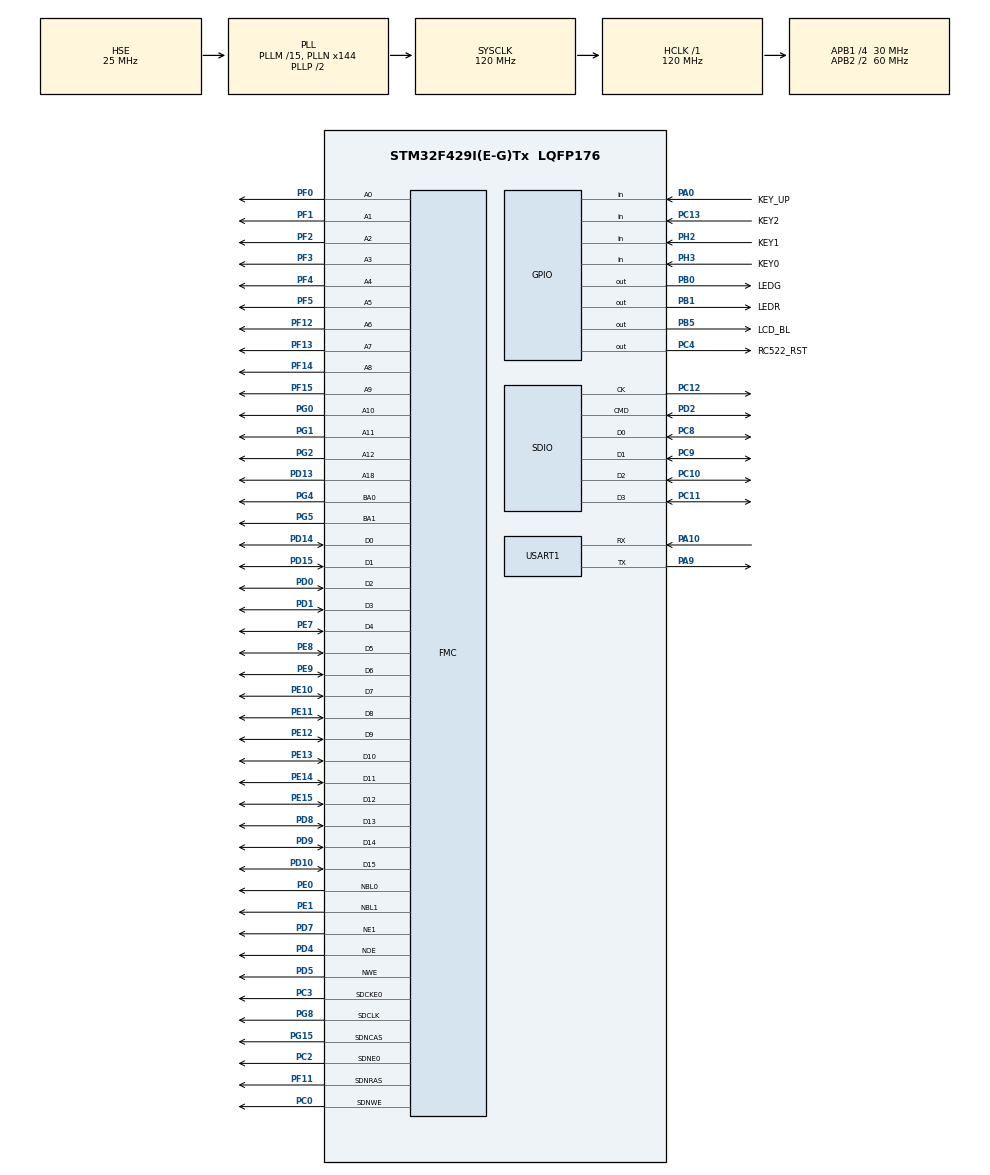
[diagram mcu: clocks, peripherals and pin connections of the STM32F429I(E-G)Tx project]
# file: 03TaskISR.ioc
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DMA2D.AlphaModeForeground=DMA2D_REPLACE_ALPHA
DMA2D.ColorMode=DMA2D_OUTPUT_RGB565
DMA2D.InputColorModeBackground=DMA2D_INPUT_RGB565
DMA2D.InputColorModeForeground=DMA2D_INPUT_A4
DMA2D.Mode=DMA2D_M2M_BLEND
Dma.MEMTOMEM.1.Direction=DMA_MEMORY_TO_MEMORY
Dma.MEMTOMEM.1.FIFOMode=DMA_FIFOMODE_ENABLE
Dma.MEMTOMEM.1.FIFOThreshold=DMA_FIFO_THRESHOLD_FULL
Dma.MEMTOMEM.1.Instance=DMA2_Stream0
Dma.MEMTOMEM.1.MemBurst=DMA_MBURST_SINGLE
Dma.MEMTOMEM.1.MemDataAlignment=DMA_MDATAALIGN_HALFWORD
Dma.MEMTOMEM.1.MemInc=DMA_MINC_DISABLE
Dma.MEMTOMEM.1.Mode=DMA_NORMAL
Dma.MEMTOMEM.1.PeriphBurst=DMA_PBURST_SINGLE
Dma.MEMTOMEM.1.PeriphDataAlignment=DMA_PDATAALIGN_HALFWORD
Dma.MEMTOMEM.1.PeriphInc=DMA_PINC_ENABLE
Dma.MEMTOMEM.1.Priority=DMA_PRIORITY_LOW
Dma.Request0=USART1_RX
Dma.Request1=MEMTOMEM
Dma.Request2=SDIO_RX
Dma.Request3=SDIO_TX
Dma.SDIO_RX.2.Direction=DMA_PERIPH_TO_MEMORY
Dma.SDIO_RX.2.FIFOMode=DMA_FIFOMODE_ENABLE
Dma.SDIO_RX.2.FIFOThreshold=DMA_FIFO_THRESHOLD_FULL
Dma.SDIO_RX.2.Instance=DMA2_Stream3
Dma.SDIO_RX.2.MemBurst=DMA_MBURST_INC4
Dma.SDIO_RX.2.MemDataAlignment=DMA_MDATAALIGN_WORD
Dma.SDIO_RX.2.MemInc=DMA_MINC_ENABLE
Dma.SDIO_RX.2.Mode=DMA_PFCTRL
Dma.SDIO_RX.2.PeriphBurst=DMA_PBURST_INC4
Dma.SDIO_RX.2.PeriphDataAlignment=DMA_PDATAALIGN_WORD
Dma.SDIO_RX.2.PeriphInc=DMA_PINC_DISABLE
Dma.SDIO_RX.2.Priority=DMA_PRIORITY_HIGH
Dma.SDIO_TX.3.Direction=DMA_MEMORY_TO_PERIPH
Dma.SDIO_TX.3.FIFOMode=DMA_FIFOMODE_ENABLE
Dma.SDIO_TX.3.FIFOThreshold=DMA_FIFO_THRESHOLD_FULL
Dma.SDIO_TX.3.Instance=DMA2_Stream6
Dma.SDIO_TX.3.MemBurst=DMA_MBURST_INC4
Dma.SDIO_TX.3.MemDataAlignment=DMA_MDATAALIGN_WORD
Dma.SDIO_TX.3.MemInc=DMA_MINC_ENABLE
Dma.SDIO_TX.3.Mode=DMA_PFCTRL
Dma.SDIO_TX.3.PeriphBurst=DMA_PBURST_INC4
Dma.SDIO_TX.3.PeriphDataAlignment=DMA_PDATAALIGN_WORD
Dma.SDIO_TX.3.PeriphInc=DMA_PINC_DISABLE
Dma.SDIO_TX.3.Priority=DMA_PRIORITY_HIGH
Dma.USART1_RX.0.Direction=DMA_PERIPH_TO_MEMORY
Dma.USART1_RX.0.FIFOMode=DMA_FIFOMODE_DISABLE
Dma.USART1_RX.0.Instance=DMA2_Stream2
Dma.USART1_RX.0.MemDataAlignment=DMA_MDATAALIGN_BYTE
Dma.USART1_RX.0.MemInc=DMA_MINC_ENABLE
Dma.USART1_RX.0.Mode=DMA_NORMAL
Dma.USART1_RX.0.PeriphDataAlignment=DMA_PDATAALIGN_BYTE
Dma.USART1_RX.0.PeriphInc=DMA_PINC_DISABLE
Dma.USART1_RX.0.Priority=DMA_PRIORITY_LOW
FATFS._CODE_PAGE=936
FATFS._FS_EXFAT=1
FATFS._FS_LOCK=10
FATFS._FS_REENTRANT=1
FATFS._FS_TINY=1
FATFS._LFN_UNICODE=1
FATFS._MAX_SS=4096
FATFS._USE_LFN=3
FATFS._USE_MUTEX=1
FMC.CASLatency1=FMC_SDRAM_CAS_LATENCY_2
FMC.ColumnBitsNumber1=FMC_SDRAM_COLUMN_BITS_NUM_9
FMC.ExitSelfRefreshDelay1=7
FMC.LoadToActiveDelay1=2
FMC.RPDelay1=2
FMC.RPDelay2=2
FMC.ReadBurst1=FMC_SDRAM_RBURST_ENABLE
FMC.ReadBurst2=FMC_SDRAM_RBURST_ENABLE
FMC.RowCycleDelay1=6
FMC.RowCycleDelay2=6
FMC.SDClockPeriod1=FMC_SDRAM_CLOCK_PERIOD_2
FMC.SDClockPeriod2=FMC_SDRAM_CLOCK_PERIOD_2
FMC.SelfRefreshTime1=4
FMC.WriteRecoveryTime1=2
FREERTOS.Tasks01=Task_LEDR,24,128,AppTask_LEDR,Default,NULL,Dynamic,NULL,NULL;Task_usart1,8,1024,AppTask_usart1,Default,NULL,Static,Task_usart1Buffer,Task_usart1ControlBlock;Task_LCDTime,8,256,AppTask_LCDTime,Default,NULL,Static,Task_LCDTimeBuffer,Task_LCDTimeControlBlock;TaskreadSD,8,1024,AppTaskreadSD,Default,NULL,Static,TaskreadUSBBuffer,TaskreadUSBControlBlock;TaskInitSD,8,256,AppTaskInitSD,Default,NULL,Dynamic,NULL,NULL
FREERTOS.configGENERATE_RUN_TIME_STATS=1
FREERTOS.configUSE_STATS_FORMATTING_FUNCTIONS=1
Mcu.Family=STM32F4
Mcu.Name=STM32F429I(E-G)Tx
Mcu.Package=LQFP176
NVIC.DMA2D_IRQn=true\:5\:0\:false\:false\:true\:true\:true\:true\:true
NVIC.DMA2_Stream0_IRQn=true\:5\:0\:false\:false\:true\:false\:true\:true\:true
NVIC.DMA2_Stream2_IRQn=true\:5\:0\:false\:false\:true\:true\:false\:true\:true
NVIC.DMA2_Stream3_IRQn=true\:5\:0\:false\:false\:true\:true\:false\:true\:true
NVIC.DMA2_Stream6_IRQn=true\:5\:0\:false\:false\:true\:true\:false\:true\:true
NVIC.PriorityGroup=NVIC_PRIORITYGROUP_4
NVIC.SDIO_IRQn=true\:5\:0\:false\:false\:true\:true\:true\:true\:true
NVIC.TIM6_DAC_IRQn=true\:15\:0\:false\:false\:true\:false\:false\:true\:true
NVIC.TimeBase=TIM6_DAC_IRQn
NVIC.TimeBaseIP=TIM6
NVIC.USART1_IRQn=true\:5\:0\:false\:false\:true\:true\:true\:true\:true
PA0/WKUP.GPIO_Label=KEY_UP
PA0/WKUP.Signal=GPIO_Input
PA10.Mode=Asynchronous
PA10.Signal=USART1_RX
PA13.Mode=Serial_Wire
PA13.Signal=SYS_JTMS-SWDIO
PA14.Mode=Serial_Wire
PA14.Signal=SYS_JTCK-SWCLK
PA9.Mode=Asynchronous
PA9.Signal=USART1_TX
PB0.GPIO_Label=LEDG
PB0.Signal=GPIO_Output
PB1.GPIO_Label=LEDR
PB1.PinState=GPIO_PIN_SET
PB1.Signal=GPIO_Output
PB5.GPIO_Label=LCD_BL
PB5.GPIO_Speed=GPIO_SPEED_FREQ_HIGH
PB5.PinState=GPIO_PIN_SET
PB5.Signal=GPIO_Output
PC0.Signal=FMC_SDNWE
PC10.Mode=SD_4_bits_Wide_bus
PC10.Signal=SDIO_D2
PC11.Mode=SD_4_bits_Wide_bus
PC11.Signal=SDIO_D3
PC12.Mode=SD_4_bits_Wide_bus
PC12.Signal=SDIO_CK
PC13.GPIO_Label=KEY2
PC13.Signal=GPIO_Input
PC14/OSC32_IN.Mode=LSE-External-Oscillator
PC14/OSC32_IN.Signal=RCC_OSC32_IN
PC15/OSC32_OUT.Mode=LSE-External-Oscillator
PC15/OSC32_OUT.Signal=RCC_OSC32_OUT
PC2.Mode=SdramChipSelect1_1
PC2.Signal=FMC_SDNE0
PC3.Mode=SdramChipSelect1_1
PC3.Signal=FMC_SDCKE0
PC4.GPIO_Label=RC522_RST
PC4.Signal=GPIO_Output
PC8.Mode=SD_4_bits_Wide_bus
PC8.Signal=SDIO_D0
PC9.Mode=SD_4_bits_Wide_bus
PC9.Signal=SDIO_D1
PD0.Signal=FMC_D2_DA2
PD1.Signal=FMC_D3_DA3
PD10.Signal=FMC_D15_DA15
PD13.Signal=FMC_A18
PD14.Signal=FMC_D0_DA0
PD15.Signal=FMC_D1_DA1
PD2.Mode=SD_4_bits_Wide_bus
PD2.Signal=SDIO_CMD
PD4.Signal=FMC_NOE
PD5.Signal=FMC_NWE
PD7.Mode=NorPsramChipSelect1_1
PD7.Signal=FMC_NE1
PD8.Signal=FMC_D13_DA13
PD9.Signal=FMC_D14_DA14
PE0.Signal=FMC_NBL0
PE1.Signal=FMC_NBL1
PE10.Signal=FMC_D7_DA7
PE11.Signal=FMC_D8_DA8
PE12.Signal=FMC_D9_DA9
PE13.Signal=FMC_D10_DA10
PE14.Signal=FMC_D11_DA11
PE15.Signal=FMC_D12_DA12
PE7.Signal=FMC_D4_DA4
PE8.Signal=FMC_D5_DA5
PE9.Signal=FMC_D6_DA6
PF0.Signal=FMC_A0
PF1.Signal=FMC_A1
PF11.Signal=FMC_SDNRAS
PF12.Signal=FMC_A6
PF13.Signal=FMC_A7
PF14.Signal=FMC_A8
PF15.Signal=FMC_A9
PF2.Signal=FMC_A2
PF3.Signal=FMC_A3
PF4.Signal=FMC_A4
PF5.Signal=FMC_A5
PG0.Signal=FMC_A10
PG1.Signal=FMC_A11
PG15.Signal=FMC_SDNCAS
PG2.Signal=FMC_A12
PG4.Signal=FMC_A14_BA0
PG5.Signal=FMC_A15_BA1
PG8.Signal=FMC_SDCLK
PH0/OSC_IN.Mode=HSE-External-Oscillator
PH0/OSC_IN.Signal=RCC_OSC_IN
PH1/OSC_OUT.Mode=HSE-External-Oscillator
PH1/OSC_OUT.Signal=RCC_OSC_OUT
PH2.GPIO_Label=KEY1
PH2.Signal=GPIO_Input
PH3.GPIO_Label=KEY0
PH3.Signal=GPIO_Input
ProjectManager.HeapSize=0x2000
ProjectManager.StackSize=0x2000
ProjectManager.TargetToolchain=CMake
RCC.48MHZClocksFreq_Value=48000000
RCC.AHBFreq_Value=120000000
RCC.APB1CLKDivider=RCC_HCLK_DIV4
RCC.APB1Freq_Value=30000000
RCC.APB1TimFreq_Value=60000000
RCC.APB2CLKDivider=RCC_HCLK_DIV2
RCC.APB2Freq_Value=60000000
RCC.APB2TimFreq_Value=120000000
RCC.CortexFreq_Value=120000000
RCC.HCLKFreq_Value=120000000
RCC.HSE_VALUE=25000000
RCC.HSI_VALUE=16000000
RCC.PLLM=15
RCC.PLLN=144
RCC.PLLQ=5
RCC.PLLSAIN=100
RCC.PLLSourceVirtual=RCC_PLLSOURCE_HSE
RCC.RCC_RTC_Clock_Source=RCC_RTCCLKSOURCE_LSE
RCC.RCC_RTC_Clock_SourceVirtual=RCC_RTCCLKSOURCE_LSE
RCC.SYSCLKFreq_VALUE=120000000
RCC.SYSCLKSource=RCC_SYSCLKSOURCE_PLLCLK
RCC.VCOOutputFreq_Value=240000000
RTC.Date=10
RTC.Month=RTC_MONTH_MARCH
RTC.WeekDay=RTC_WEEKDAY_TUESDAY
RTC.Year=26
SDIO.ClockDiv=4
SH.FMC_A0.0=FMC_A0,13b-sda1
SH.FMC_A1.0=FMC_A1,13b-sda1
SH.FMC_A10.0=FMC_A10,13b-sda1
SH.FMC_A11.0=FMC_A11,13b-sda1
SH.FMC_A12.0=FMC_A12,13b-sda1
SH.FMC_A14_BA0.0=FMC_BA0,FourSdramBanks1
SH.FMC_A15_BA1.0=FMC_BA1,FourSdramBanks1
SH.FMC_A18.0=FMC_A18,A18_1
SH.FMC_A2.0=FMC_A2,13b-sda1
SH.FMC_A3.0=FMC_A3,13b-sda1
SH.FMC_A4.0=FMC_A4,13b-sda1
SH.FMC_A5.0=FMC_A5,13b-sda1
SH.FMC_A6.0=FMC_A6,13b-sda1
SH.FMC_A7.0=FMC_A7,13b-sda1
SH.FMC_A8.0=FMC_A8,13b-sda1
SH.FMC_A9.0=FMC_A9,13b-sda1
SH.FMC_D0_DA0.0=FMC_D0,16b-d1
SH.FMC_D0_DA0.1=FMC_D0,sd-16b-d1
SH.FMC_D10_DA10.0=FMC_D10,16b-d1
SH.FMC_D10_DA10.1=FMC_D10,sd-16b-d1
SH.FMC_D11_DA11.0=FMC_D11,16b-d1
SH.FMC_D11_DA11.1=FMC_D11,sd-16b-d1
SH.FMC_D12_DA12.0=FMC_D12,16b-d1
SH.FMC_D12_DA12.1=FMC_D12,sd-16b-d1
SH.FMC_D13_DA13.0=FMC_D13,16b-d1
SH.FMC_D13_DA13.1=FMC_D13,sd-16b-d1
SH.FMC_D14_DA14.0=FMC_D14,16b-d1
SH.FMC_D14_DA14.1=FMC_D14,sd-16b-d1
SH.FMC_D15_DA15.0=FMC_D15,16b-d1
SH.FMC_D15_DA15.1=FMC_D15,sd-16b-d1
SH.FMC_D1_DA1.0=FMC_D1,16b-d1
SH.FMC_D1_DA1.1=FMC_D1,sd-16b-d1
SH.FMC_D2_DA2.0=FMC_D2,16b-d1
SH.FMC_D2_DA2.1=FMC_D2,sd-16b-d1
SH.FMC_D3_DA3.0=FMC_D3,16b-d1
SH.FMC_D3_DA3.1=FMC_D3,sd-16b-d1
SH.FMC_D4_DA4.0=FMC_D4,16b-d1
SH.FMC_D4_DA4.1=FMC_D4,sd-16b-d1
SH.FMC_D5_DA5.0=FMC_D5,16b-d1
SH.FMC_D5_DA5.1=FMC_D5,sd-16b-d1
SH.FMC_D6_DA6.0=FMC_D6,16b-d1
SH.FMC_D6_DA6.1=FMC_D6,sd-16b-d1
SH.FMC_D7_DA7.0=FMC_D7,16b-d1
SH.FMC_D7_DA7.1=FMC_D7,sd-16b-d1
SH.FMC_D8_DA8.0=FMC_D8,16b-d1
SH.FMC_D8_DA8.1=FMC_D8,sd-16b-d1
SH.FMC_D9_DA9.0=FMC_D9,16b-d1
SH.FMC_D9_DA9.1=FMC_D9,sd-16b-d1
SH.FMC_NBL0.0=FMC_NBL0,Sd2ByteEnable1
SH.FMC_NBL1.0=FMC_NBL1,Sd2ByteEnable1
SH.FMC_NOE.0=FMC_NOE,Lcd1
SH.FMC_NWE.0=FMC_NWE,Lcd1
SH.FMC_SDCLK.0=FMC_SDCLK,13b-sda1
SH.FMC_SDNCAS.0=FMC_SDNCAS,13b-sda1
SH.FMC_SDNRAS.0=FMC_SDNRAS,13b-sda1
SH.FMC_SDNWE.0=FMC_SDNWE,13b-sda1
USART1.VirtualMode=VM_ASYNC
VP_DMA2D_VS_DMA2D.Mode=DMA2D_Activate
VP_FATFS_VS_SDIO.Mode=SDIO
VP_FREERTOS_VS_CMSIS_V2.Mode=CMSIS_V2
VP_RTC_VS_RTC_Activate.Mode=RTC_Enabled
VP_RTC_VS_RTC_Calendar.Mode=RTC_Calendar
VP_SYS_VS_tim6.Mode=TIM6
board=custom

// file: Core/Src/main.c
/* USER CODE BEGIN Header */
/**
  ******************************************************************************
  * @file           : main.c
  * @brief          : Main program body
  ******************************************************************************
  * @attention
  *
  * Copyright (c) 2026 STMicroelectronics.
  * All rights reserved.
  *
  * This software is licensed under terms that can be found in the LICENSE file
  * in the root directory of this software component.
  * If no LICENSE file comes with this software, it is provided AS-IS.
  *
  ******************************************************************************
  */
/* USER CODE END Header */
#include "main.h"
#include "cmsis_os.h"
#include "dma.h"
#include "dma2d.h"
#include "fatfs.h"
#include "rtc.h"
#include "sdio.h"
#include "usart.h"
#include "gpio.h"
#include "fmc.h"

/* USER CODE BEGIN Includes */
#include <stdio.h>
#include "../../ThirdParty/MyLib/LED/LED.h"
#include "../../ThirdParty/MyLib/LCD/lcd.h"
#include "../../ThirdParty/MyLib/SDRAM/sdram.h"
#include "../../ThirdParty/MyLib/LCD/lcd_dma2d.h"
#include "../../ThirdParty/MyLib/TFCARD/sd_app.h"
/* USER CODE END Includes */

void SystemClock_Config(void);
void MX_FREERTOS_Init(void);

int main(void)
{

  /* MCU Configuration--------------------------------------------------------*/

  /* Reset of all peripherals, Initializes the Flash interface and the Systick. */
  HAL_Init();

  /* Configure the system clock */
  SystemClock_Config();

  /* Initialize all configured peripherals */
  MX_GPIO_Init();
  MX_DMA_Init();
  MX_FMC_Init();
  MX_USART1_UART_Init();
  MX_RTC_Init();
  MX_DMA2D_Init();
  MX_SDIO_SD_Init();
  MX_FATFS_Init();
  /* USER CODE BEGIN 2 */

  LEDG(0);// 确保 LEDG 初始状态为关闭
  LEDR(0);// 确保 LEDR 初始状态为关闭

//==============================  初始化 SDRAM  =============================
  SDRAM_InitSequence();
  /** =============================初始化 LCD 屏幕============================= */
  lcd_init();
  lcd_clear(BLACK);
  lcd_dma2d_init();     // 初始化 DMA2D 缓存模块
  lcd_dma2d_clear(BLACK);

  // 2. 用 CPU 画一个半透明的蓝色圆圈 (与白色背景混合)
  lcd_buffer_draw_circle_alpha(160, 260, 75, YELLOW, 255); // 256 = 100% 透明
  lcd_buffer_draw_circle_alpha(160, 260, 73, RED, 255);
  lcd_buffer_draw_circle_alpha(160, 260, 70, BLUE, 255);
  //lcd_dma2d_update_screen(); // 刷新屏幕

  lcd_buffer_fill_alpha(100, 200, 220, 320, RED, 128); // 使用 CPU 混合填充
  lcd_buffer_fill_alpha(120, 220, 240, 340, BLUE, 128); // 使用 CPU 混合填充
  lcd_buffer_fill_alpha(80, 180, 200, 300, YELLOW, 128);
  lcd_dma2d_update_screen(); // 刷新屏幕

  /* ============================= 初始化EUBF  ============================= */
    EUBF_Port_Config_t font_sd_config = {
        .Open     = SD_FastSlot_Open_UTF8,  // 完美的接口匹配！
        .Close    = (void (*)(int8_t))SD_FastSlot_Close, // 强转一下避免警告
        .ReadAt   = SD_FastSlot_Read,       // 完美的参数匹配！
        .RootPath = "0:/"                   // SD卡的根目录
    };
    EUBF_Init(&font_sd_config);
  /** ============================= 初始化串口 ============================= */
  //开启串口空闲中断，接收数据到rx_buffer
  HAL_UARTEx_ReceiveToIdle_DMA(&huart1, rx_buffer_1, MAX_CMD_LEN);
  // 关闭半传输中断
  __HAL_DMA_DISABLE_IT(huart1.hdmarx, DMA_IT_HT);

  /* USER CODE END 2 */

  /* Init scheduler */
  osKernelInitialize();  /* Call init function for freertos objects (in cmsis_os2.c) */
  MX_FREERTOS_Init();

  /* Start scheduler */
  osKernelStart();

  /* We should never get here as control is now taken by the scheduler */

  /* Infinite loop */
  while (1)
  {

  }
}

void SystemClock_Config(void)
{
  RCC_OscInitTypeDef RCC_OscInitStruct = {0};
  RCC_ClkInitTypeDef RCC_ClkInitStruct = {0};

  /** Configure the main internal regulator output voltage
  */
  __HAL_RCC_PWR_CLK_ENABLE();
  __HAL_PWR_VOLTAGESCALING_CONFIG(PWR_REGULATOR_VOLTAGE_SCALE3);

  /** Initializes the RCC Oscillators according to the specified parameters
  * in the RCC_OscInitTypeDef structure.
  */
  RCC_OscInitStruct.OscillatorType = RCC_OSCILLATORTYPE_HSE|RCC_OSCILLATORTYPE_LSE;
  RCC_OscInitStruct.HSEState = RCC_HSE_ON;
  RCC_OscInitStruct.LSEState = RCC_LSE_ON;
  RCC_OscInitStruct.PLL.PLLState = RCC_PLL_ON;
  RCC_OscInitStruct.PLL.PLLSource = RCC_PLLSOURCE_HSE;
  RCC_OscInitStruct.PLL.PLLM = 15;
  RCC_OscInitStruct.PLL.PLLN = 144;
  RCC_OscInitStruct.PLL.PLLP = RCC_PLLP_DIV2;
  RCC_OscInitStruct.PLL.PLLQ = 5;
  if (HAL_RCC_OscConfig(&RCC_OscInitStruct) != HAL_OK)
  {
    Error_Handler();
  }

  /** Initializes the CPU, AHB and APB buses clocks
  */
  RCC_ClkInitStruct.ClockType = RCC_CLOCKTYPE_HCLK|RCC_CLOCKTYPE_SYSCLK
                              |RCC_CLOCKTYPE_PCLK1|RCC_CLOCKTYPE_PCLK2;
  RCC_ClkInitStruct.SYSCLKSource = RCC_SYSCLKSOURCE_PLLCLK;
  RCC_ClkInitStruct.AHBCLKDivider = RCC_SYSCLK_DIV1;
  RCC_ClkInitStruct.APB1CLKDivider = RCC_HCLK_DIV4;
  RCC_ClkInitStruct.APB2CLKDivider = RCC_HCLK_DIV2;

  if (HAL_RCC_ClockConfig(&RCC_ClkInitStruct, FLASH_LATENCY_3) != HAL_OK)
  {
    Error_Handler();
  }
}

void HAL_TIM_PeriodElapsedCallback(TIM_HandleTypeDef *htim)
{
  if (htim->Instance == TIM6)
  {
    HAL_IncTick();
  }
}

void Error_Handler(void)
{
  __disable_irq();
  while (1)
  {
  }
}

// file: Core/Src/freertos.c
/* USER CODE BEGIN Header */
/**
  ******************************************************************************
  * File Name          : freertos.c
  * Description        : Code for freertos applications
  ******************************************************************************
  * @attention
  *
  * Copyright (c) 2026 STMicroelectronics.
  * All rights reserved.
  *
  * This software is licensed under terms that can be found in the LICENSE file
  * in the root directory of this software component.
  * If no LICENSE file comes with this software, it is provided AS-IS.
  *
  ******************************************************************************
  */
/* USER CODE END Header */

#include "FreeRTOS.h"
#include "task.h"
#include "main.h"
#include "cmsis_os.h"

/* USER CODE BEGIN Includes */
#include <stdint.h>
#include <stdio.h>
#include <string.h>
#include "../../ThirdParty/MyLib/LED/LED.h"
#include "../../ThirdParty/MyLib/LCD/lcd.h"
#include "usart.h"
#include "rtc.h"
#include "../../ThirdParty/MyLib/CLI/cli.h"
#include "../../ThirdParty/MyLib/CLI/cli_fun.h"
#include "../../ThirdParty/MyLib/EUBF/eubf_manager.h"
#include "../../ThirdParty/MyLib/LCD/lcd_dma2d.h"
#include "../../ThirdParty/MyLib/TFCARD/sd_app.h"
/* USER CODE END Includes */

typedef StaticTask_t osStaticThreadDef_t;

/* Definitions for Task_LEDR */
osThreadId_t Task_LEDRHandle;
const osThreadAttr_t Task_LEDR_attributes = {
  .name = "Task_LEDR",
  .stack_size = 128 * 4,
  .priority = (osPriority_t) osPriorityNormal,
};
/* Definitions for Task_usart1 */
osThreadId_t Task_usart1Handle;
uint32_t Task_usart1Buffer[ 1024 ];
osStaticThreadDef_t Task_usart1ControlBlock;
const osThreadAttr_t Task_usart1_attributes = {
  .name = "Task_usart1",
  .cb_mem = &Task_usart1ControlBlock,
  .cb_size = sizeof(Task_usart1ControlBlock),
  .stack_mem = &Task_usart1Buffer[0],
  .stack_size = sizeof(Task_usart1Buffer),
  .priority = (osPriority_t) osPriorityLow,
};
/* Definitions for Task_LCDTime */
osThreadId_t Task_LCDTimeHandle;
uint32_t Task_LCDTimeBuffer[ 256 ];
osStaticThreadDef_t Task_LCDTimeControlBlock;
const osThreadAttr_t Task_LCDTime_attributes = {
  .name = "Task_LCDTime",
  .cb_mem = &Task_LCDTimeControlBlock,
  .cb_size = sizeof(Task_LCDTimeControlBlock),
  .stack_mem = &Task_LCDTimeBuffer[0],
  .stack_size = sizeof(Task_LCDTimeBuffer),
  .priority = (osPriority_t) osPriorityLow,
};
/* Definitions for TaskreadSD */
osThreadId_t TaskreadSDHandle;
uint32_t TaskreadUSBBuffer[ 1024 ];
osStaticThreadDef_t TaskreadUSBControlBlock;
const osThreadAttr_t TaskreadSD_attributes = {
  .name = "TaskreadSD",
  .cb_mem = &TaskreadUSBControlBlock,
  .cb_size = sizeof(TaskreadUSBControlBlock),
  .stack_mem = &TaskreadUSBBuffer[0],
  .stack_size = sizeof(TaskreadUSBBuffer),
  .priority = (osPriority_t) osPriorityLow,
};
/* Definitions for TaskInitSD */
osThreadId_t TaskInitSDHandle;
const osThreadAttr_t TaskInitSD_attributes = {
  .name = "TaskInitSD",
  .stack_size = 256 * 4,
  .priority = (osPriority_t) osPriorityLow,
};

void AppTask_LEDR(void *argument);
void AppTask_usart1(void *argument);
void AppTask_LCDTime(void *argument);
void AppTaskreadSD(void *argument);
void AppTaskInitSD(void *argument);

void MX_FREERTOS_Init(void); /* (MISRA C 2004 rule 8.1) */

/* Hook prototypes */
void configureTimerForRunTimeStats(void);
unsigned long getRunTimeCounterValue(void);

/* USER CODE BEGIN 1 */
/* Functions needed when configGENERATE_RUN_TIME_STATS is on */
__weak void configureTimerForRunTimeStats(void)
{

}

__weak unsigned long getRunTimeCounterValue(void)
{
return 0;
}
/* USER CODE END 1 */

void MX_FREERTOS_Init(void) {

  /* Create the thread(s) */
  /* creation of Task_LEDR */
  Task_LEDRHandle = osThreadNew(AppTask_LEDR, NULL, &Task_LEDR_attributes);

  /* creation of Task_usart1 */
  Task_usart1Handle = osThreadNew(AppTask_usart1, NULL, &Task_usart1_attributes);

  /* creation of Task_LCDTime */
  Task_LCDTimeHandle = osThreadNew(AppTask_LCDTime, NULL, &Task_LCDTime_attributes);

  /* creation of TaskreadSD */
  TaskreadSDHandle = osThreadNew(AppTaskreadSD, NULL, &TaskreadSD_attributes);

  /* creation of TaskInitSD */
  TaskInitSDHandle = osThreadNew(AppTaskInitSD, NULL, &TaskInitSD_attributes);

}

void AppTask_LEDR(void *argument)
{
  /* USER CODE BEGIN AppTask_LEDR */
  TickType_t xLastWakeTime = xTaskGetTickCount();
  const TickType_t xFrequency = pdMS_TO_TICKS( 1000 );
  /* Infinite loop */
  for(;;)
  {
    LEDR(1);
    //lcd_fill(0, 100, 20, 120, !HAL_GPIO_ReadPin(LEDR_GPIO_Port, LEDR_Pin)?RED:BLACK);
    osDelay(50);
    LEDR(0);
    //lcd_fill(0, 100, 20, 120, !HAL_GPIO_ReadPin(LEDR_GPIO_Port, LEDR_Pin)?RED:BLACK);
    vTaskDelayUntil( &xLastWakeTime, xFrequency );
  }
  /* USER CODE END AppTask_LEDR */
}

void AppTask_usart1(void *argument)
{
  /* USER CODE BEGIN AppTask_usart1 */
  cli_t cli_USART1;
  cli_cmd_entry_t cli_USART1_cmd_entry[] = {
    {"LED", cli_led},
    {"SET_TIME", cli_rtc},
    {"LCD", cli_lcd},
  };
  CLI_Init(&cli_USART1,
    cli_USART1_cmd_entry,
    sizeof(cli_USART1_cmd_entry)/sizeof(cli_USART1_cmd_entry[0]));

  /* Infinite loop */
  for(;;)
  {
    if(rx_buffer_1_flag){

        // 1. 数据处理

        //printf("Received: %s", rx_buffer_1);
        //HAL_UART_Transmit(&huart1, rx_buffer_1, Size, 100);
        //LEDG_Toggle(); // 接收指令时切换 LED 灯状态，方便观察
        // 2. 指令解析和执行
        CLI_Input(&cli_USART1, (const char *)rx_buffer_1,rx_buffer_1_flag);

        memset(rx_buffer_1, 0, MAX_CMD_LEN); // 清空已处理的数据，准备接收下一帧指令

        // 2. 处理完成后，清除标志位，准备接收下一条指令
        rx_buffer_1_flag = 0;
    }
    osDelay(50);
  }
  /* USER CODE END AppTask_usart1 */
}

void AppTask_LCDTime(void *argument)
{
  /* USER CODE BEGIN AppTask_LCDTime */
  /* Infinite loop */
  for(;;)
  {
    // //RTC测试
    // RTC_TimeTypeDef sTime = {0};
    // RTC_DateTypeDef sDate = {0};
    // //设置RTC的时间

    // char RTCbuffer[128];
    // // 先读 Time，此时硬件为了保证时间一致性，会把日期寄存器“锁住”。
    // // 只有当你紧接着调用 HAL_RTC_GetDate() 读取日期后，寄存器才会“解锁”。
    // HAL_RTC_GetTime(&hrtc, &sTime, RTC_FORMAT_BIN);
    // // 紧接着必须读 Date (即使你不用 Date 的数据，也必须调用此函数解锁硬件)
    // HAL_RTC_GetDate(&hrtc, &sDate, RTC_FORMAT_BIN);
    // //不过当你只需要date时，只调用HAL_RTC_GetDate并不会“锁住”日期寄存器。
    // // 3. 打印时间 (注意我们之前在 CMake 里解决的 printf 缓冲和结束符问题)
    // sprintf(RTCbuffer, "Time: %02d:%02d:%02d,\nDate: 20%02d-%02d-%02d",
    //         sTime.Hours, sTime.Minutes, sTime.Seconds,
    //         sDate.Year, sDate.Month, sDate.Date);
    // lcd_show_string(0, 120,300,65,32, RTCbuffer, WHITE);
    osDelay(5000);
  }
  /* USER CODE END AppTask_LCDTime */
}

void AppTaskreadSD(void *argument)
{
  /* USER CODE BEGIN AppTaskreadSD */

    static uint8_t text_buffer[512];
    uint32_t br;
    uint8_t first_draw = 0;

    /* 2. 定义一个 TCHAR 缓冲区用于存放转换后的文件名 */
    TCHAR w_filename[32];

    /* 3. 转换文件名 */
    SD_Utils_UTF8ToUTF16("usbtest.txt", w_filename, 32);

    for(;;)
    {
        printf("0. start: %d\r\n", SD_Is_Mounted());
        // 4. 判断 SD 卡是否挂载成功
        if ( SD_Is_Mounted() && first_draw == 0)
        {
            printf("1. sd mounted\r\n");

            /* 5. 读取 SD 卡中的文本文件 */
            if (SD_Read_File(w_filename, text_buffer, sizeof(text_buffer) - 1, &br) == 0)
            {
                text_buffer[br] = '\0';
                printf("2. file read success, read: %s\r\n", text_buffer);

                lcd_dma2d_clear(BLACK);

                // 显示 SD 卡读取出来的文件内容
                lcd_dma2d_show_eubf_str(0, 50, (char*)text_buffer,
                                    "峄山碑篆体", 32, WHITE);

                // 显示测试字符串 (由于前面注入了 font_sd_config，这里会自动去 SD 卡读字库)
                lcd_dma2d_show_eubf_str(0, 100, (char*)"This is a test.",
                                    "Megrim", 32, WHITE);

                lcd_dma2d_show_eubf_str(0, 150, (char*)"诸行无常 是生灭法",
                                    "字酷堂板桥体", 32, WHITE);

                lcd_dma2d_show_eubf_str(0, 200, (char*)"三十岁梦忆，五十岁复梦忆，\n所梦或同  ，  所忆错落矣。",
                                    "华康金文体", 25, WHITE);

                printf("4. Calling Update Screen...\r\n");
                lcd_dma2d_update_screen();

                first_draw = 1;
            }
        }
        osDelay(5000);
    }
  /* USER CODE END AppTaskreadSD */
}

void AppTaskInitSD(void *argument)
{
  /* USER CODE BEGIN AppTaskInitSD */
  /* Infinite loop */
  SD_App_Thread();
  /* USER CODE END AppTaskInitSD */
}
